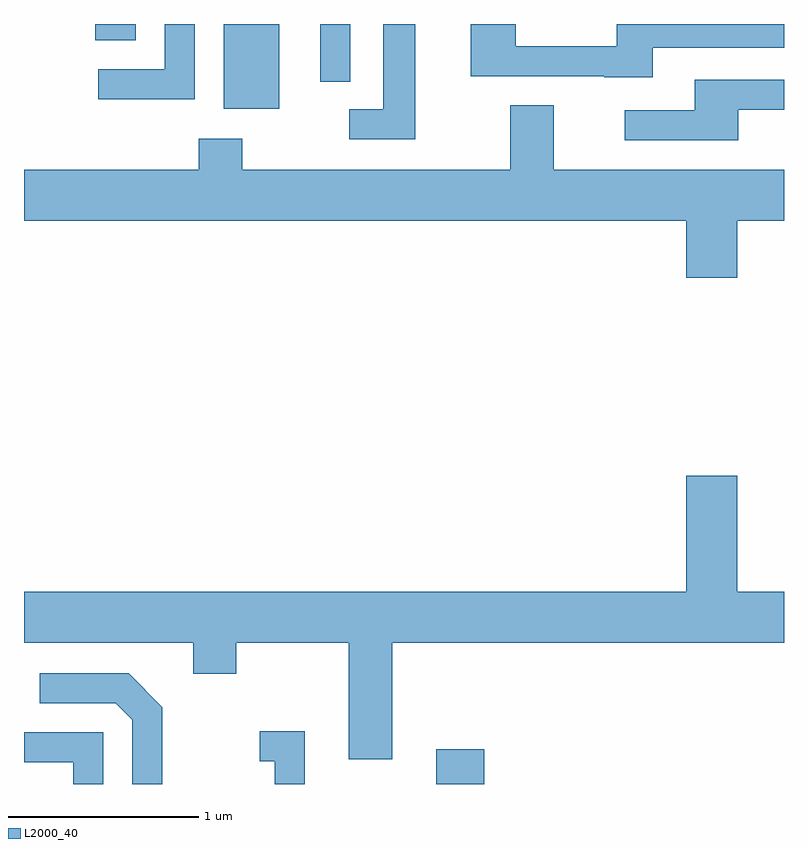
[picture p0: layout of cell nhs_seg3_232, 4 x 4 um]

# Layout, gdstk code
import gdstk
lib = gdstk.Library(unit=1e-6, precision=1e-09)
def R(c, l, rs):  # rectangles x0, y0, x1, y1
    for r in rs: c.add(gdstk.rectangle(r[:2], r[2:], *l))
def P(c, l, *ps):  # polygons
    for p in ps: c.add(gdstk.Polygon(p, *l))
L2000_40 = (2000, 40)

nhs_seg3_232 = lib.new_cell('nhs_seg3_232')
R(nhs_seg3_232, L2000_40, [(193.781,1171.892,194.034,1172.074), (192.661,1175.446,192.954,1175.892), (193.171,1175.588,193.329,1175.892), (191.986,1175.806,192.199,1175.892)])
P(nhs_seg3_232, L2000_40, [(193.669,1175.892),(193.501,1175.892),(193.501,1175.444),(193.323,1175.444),(193.323,1175.286),(193.669,1175.286)],
  [(194.919,1175.766),(195.611,1175.766),(195.611,1175.892),(194.731,1175.892),(194.731,1175.774),(194.199,1175.774),(194.199,1175.892),(193.961,1175.892),(193.961,1175.616),(194.665,1175.616),(194.665,1175.611),(194.919,1175.611)],
  [(192.509,1175.892),(192.351,1175.892),(192.351,1175.654),(192.003,1175.654),(192.003,1175.496),(192.509,1175.496)],
  [(195.369,1175.441),(195.611,1175.441),(195.611,1175.599),(195.141,1175.599),(195.141,1175.439),(194.773,1175.439),(194.773,1175.281),(195.369,1175.281)],
  [(195.364,1174.856),(195.611,1174.856),(195.611,1175.124),(194.399,1175.124),(194.399,1175.464),(194.171,1175.464),(194.171,1175.124),(192.759,1175.124),(192.759,1175.289),(192.531,1175.289),(192.531,1175.124),(191.611,1175.124),(191.611,1174.856),(195.096,1174.856),(195.096,1174.556),(195.364,1174.556)],
  [(193.549,1172.636),(195.611,1172.636),(195.611,1172.904),(195.364,1172.904),(195.364,1173.514),(195.096,1173.514),(195.096,1172.904),(191.611,1172.904),(191.611,1172.636),(192.501,1172.636),(192.501,1172.471),(192.729,1172.471),(192.729,1172.636),(193.321,1172.636),(193.321,1172.021),(193.549,1172.021)],
  [(192.339,1172.297),(192.162,1172.474),(191.693,1172.474),(191.693,1172.316),(192.094,1172.316),(192.181,1172.229),(192.181,1171.892),(192.339,1171.892)],
  [(193.089,1172.169),(192.853,1172.169),(192.853,1172.011),(192.931,1172.011),(192.931,1171.892),(193.089,1171.892)],
  [(192.029,1172.164),(191.611,1172.164),(191.611,1172.006),(191.871,1172.006),(191.871,1171.892),(192.029,1171.892)])

lib.write_gds('nhs_seg3_232.gds')
